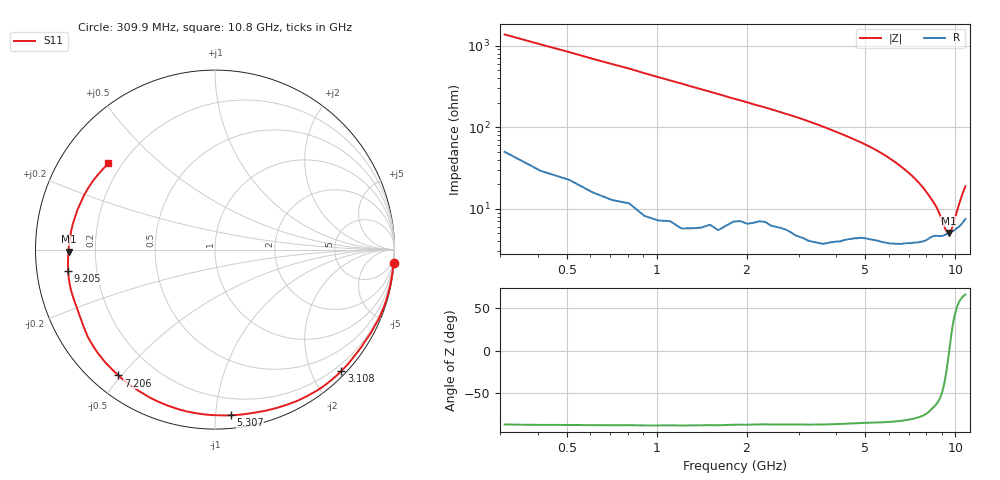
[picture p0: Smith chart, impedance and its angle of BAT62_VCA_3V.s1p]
! Infineon Technologies  Discrete & RF Semiconductors
! BAT62
! VCA = 3 V
! One-Port S-Parameters
# Hz  S  MA  R  50
!f  S11
!Hz  Mag  Ang
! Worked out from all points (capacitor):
!   106 points, 309.9 MHz to 10.8 GHz, reference 50 ohm
!   read as one part to ground: C = 373 fF near 309.9 MHz
!   lowest |Z| = 5.07 ohm at 9.505 GHz (marker M1)
!   series resonance near 9.539 GHz, so ESL is about 750 pH
!   S11 on the Smith chart (normalised r, x): 309.9 MHz: 1, -27; 3.108 GHz: 0.09, -2.48; 5.307 GHz: 0.08, -1.10; 7.206 GHz: 0.08, -0.49; 9.205 GHz: 0.10, -0.07; 10.8 GHz: 0.15, +0.35
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3.0985e8  0.9974 -4.2
1.0095e9  0.9959 -13.8
1.70915e9  0.9896 -23.6
2.4088e9  0.9797 -33.3
3.0085e9  0.9767 -42.2
3.10845e9  0.976 -43.8
3.4083e9  0.9738 -48.8
3.70815e9  0.9692 -54.1
4.30785e9  0.9528 -65.0
4.70765e9  0.9407 -72.6
5.30735e9  0.9271 -84.6
5.6072e9  0.9219 -91.1
5.90705e9  0.9171 -97.7
6.30685e9  0.9081 -107.0
6.6067e9  0.9008 -113.9
6.90655e9  0.8914 -120.8
7.2064e9  0.8838 -127.5
7.70615e9  0.8706 -138.7
8.006e9  0.8596 -145.4
8.2059e9  0.8483 -149.8
8.8056e9  0.8337 -162.1
9.2054e9  0.8268 -171.8
9.50525e9  0.8161 -179.2
9.8051e9  0.8079 172.7
1.010495e10  0.7977 163.8
1.030485e10  0.7904 157.5
1.050475e10  0.7811 151.0
1.08046e10  0.7638 141.0
